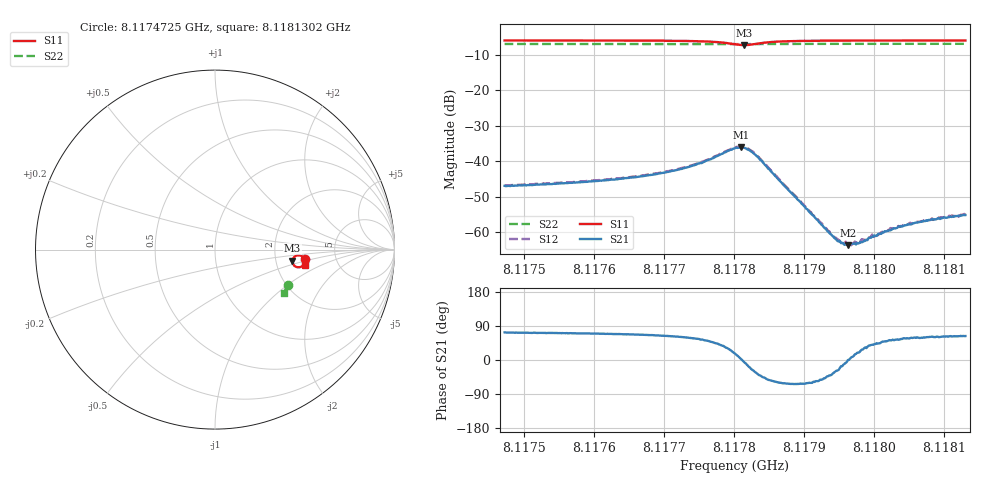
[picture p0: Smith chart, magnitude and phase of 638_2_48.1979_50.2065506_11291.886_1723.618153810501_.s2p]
#  HZ  S  RI  R  50.00
! Rohde & Schwarz Vector Network Analyzer
! Rohde-Schwarz,ZNB20-2Port,1311601062101988,3.16
! Created: UTC 3/20/2024, 12:04:42 PM
! freq[Hz]  re:S11  im:S11  re:S21  im:S21  re:S12  im:S12  re:S22  im:S22
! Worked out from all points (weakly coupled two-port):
!   401 points, 8.1174725 GHz to 8.1181302 GHz, reference 50 ohm
!   highest |S21| = -36.00 dB at 8.1178096 GHz (marker M1); lowest = -63.5 dB at 8.1179625 GHz (marker M2)
!   lowest |S11| = -7.2 dB at 8.1178145 GHz (marker M3), VSWR 2.55, Z = 124 - j18.7 ohm
!   |S11| at or under -10 dB: nowhere
!   |S22| runs from -6.9 to -6.8 dB; largest |S21 - S12| = 0.00061
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8.1174725e9  0.5042 -0.0522  0.00135 0.00433  0.00141 0.00443  0.4062 -0.1995
8.11758267e9  0.5022 -0.0632  0.00173 0.00482  0.00182 0.00492  0.403 -0.2066
8.117632e9  0.5007 -0.069  0.00205 0.00522  0.00213 0.00538  0.4015 -0.2098
8.11769284e9  0.4969 -0.0782  0.0029 0.0061  0.00295 0.00623  0.3994 -0.2138
8.11773231e9  0.4911 -0.0867  0.00419 0.00706  0.00429 0.00716  0.3979 -0.2165
8.11775368e9  0.4846 -0.0925  0.00556 0.00768  0.00586 0.00795  0.397 -0.2179
8.11780137e9  0.4398 -0.0871  0.0147 0.00442  0.015 0.00453  0.3936 -0.2201
8.11780959e9  0.4323 -0.0719  0.0158 0.000863  0.0162 0.000951  0.3932 -0.2197
8.11781452e9  0.4317 -0.061  0.0155 -0.00156  0.0158 -0.00148  0.3931 -0.2195
8.11782439e9  0.4411 -0.0415  0.0127 -0.00556  0.0132 -0.00554  0.3936 -0.2193
8.11783426e9  0.4572 -0.0323  0.00911 -0.00707  0.00928 -0.00713  0.394 -0.2198
8.11786386e9  0.4876 -0.04  0.00281 -0.00477  0.00289 -0.00489  0.3945 -0.2223
8.11791154e9  0.4985 -0.0572  0.000884 -0.00154  0.000931 -0.00153  0.3933 -0.226
8.11794114e9  0.4998 -0.0641  0.000721 -0.000509  0.000748 -0.000526  0.3923 -0.2279
8.11794607e9  0.4999 -0.0649  0.000697 -0.000376  0.000746 -0.000363  0.3921 -0.2283
8.11796252e9  0.5002 -0.0679  0.000665 -1.59e-06  0.000667 1.61e-06  0.3915 -0.2294
8.1179658e9  0.5003 -0.0685  0.000677 4.66e-05  0.000638 6.04e-05  0.3915 -0.2296
8.1179806e9  0.5003 -0.0706  0.000665 0.000301  0.000695 0.0003  0.3908 -0.2307
8.11802171e9  0.5002 -0.0762  0.000654 0.000854  0.000686 0.00087  0.3894 -0.2332
8.11803816e9  0.5 -0.0782  0.000688 0.001  0.000692 0.00103  0.389 -0.2343
8.11808091e9  0.4995 -0.0827  0.00073 0.00132  0.000765 0.00129  0.3875 -0.2369
8.11813024e9  0.4989 -0.0876  0.000792 0.00157  0.000752 0.00161  0.3858 -0.24
